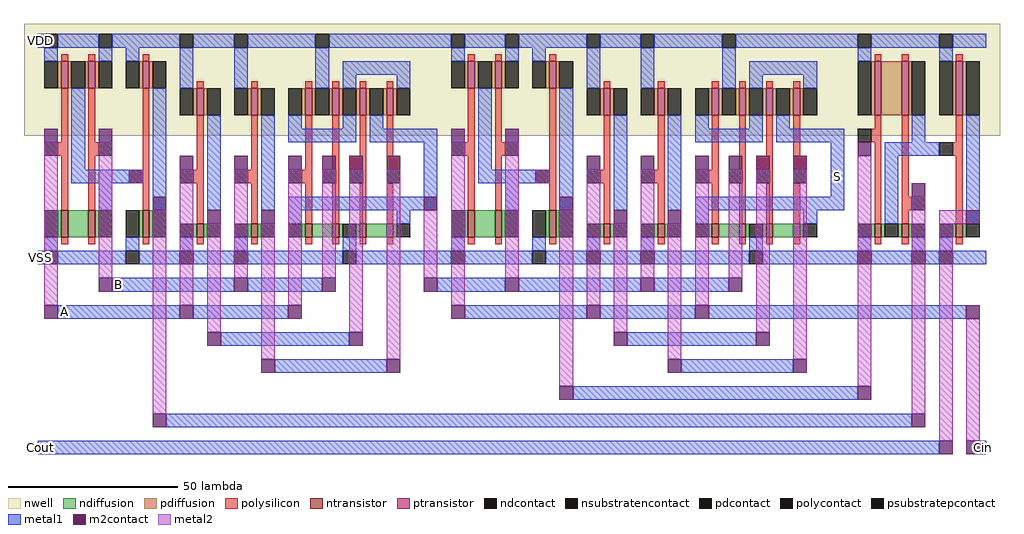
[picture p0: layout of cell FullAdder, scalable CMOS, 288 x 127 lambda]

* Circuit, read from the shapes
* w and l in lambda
.subckt FullAdder A B Cin Cout S VDD VSS
M1 n1 A VSS VSS nfet w=8 l=2
M2 n2 B n1 VSS nfet w=8 l=2
M3 OR2_FA_0/B n2 VSS VSS nfet w=8 l=2
M4 n3 A VSS VSS nfet w=4 l=2
M5 n4 B VSS VSS nfet w=4 l=2
M6 n5 A HA_1/B VSS nfet w=4 l=2
M7 VSS B n5 VSS nfet w=4 l=2
M8 n6 n3 VSS VSS nfet w=4 l=2
M9 HA_1/B n4 n6 VSS nfet w=4 l=2
M10 n7 Cin VSS VSS nfet w=8 l=2
M11 n8 HA_1/B n7 VSS nfet w=8 l=2
M12 OR2_FA_0/A n8 VSS VSS nfet w=8 l=2
M13 n9 Cin VSS VSS nfet w=4 l=2
M14 n10 HA_1/B VSS VSS nfet w=4 l=2
M15 n11 Cin S VSS nfet w=4 l=2
M16 VSS HA_1/B n11 VSS nfet w=4 l=2
M17 n12 n9 VSS VSS nfet w=4 l=2
M18 S n10 n12 VSS nfet w=4 l=2
M19 n13 OR2_FA_0/A VSS VSS nfet w=4 l=2
M20 VSS OR2_FA_0/B n13 VSS nfet w=4 l=2
M21 Cout n13 VSS VSS nfet w=4 l=2
M22 n2 A VDD VDD pfet w=8 l=2
M23 VDD B n2 VDD pfet w=8 l=2
M24 OR2_FA_0/B n2 VDD VDD pfet w=8 l=2
M25 n3 A VDD VDD pfet w=8 l=2
M26 n4 B VDD VDD pfet w=8 l=2
M27 VDD A n14 VDD pfet w=8 l=2
M28 n14 B VDD VDD pfet w=8 l=2
M29 HA_1/B n3 n14 VDD pfet w=8 l=2
M30 n14 n4 HA_1/B VDD pfet w=8 l=2
M31 n8 Cin VDD VDD pfet w=8 l=2
M32 VDD HA_1/B n8 VDD pfet w=8 l=2
M33 OR2_FA_0/A n8 VDD VDD pfet w=8 l=2
M34 n9 Cin VDD VDD pfet w=8 l=2
M35 n10 HA_1/B VDD VDD pfet w=8 l=2
M36 VDD Cin n15 VDD pfet w=8 l=2
M37 n15 HA_1/B VDD VDD pfet w=8 l=2
M38 S n9 n15 VDD pfet w=8 l=2
M39 n15 n10 S VDD pfet w=8 l=2
M40 n16 OR2_FA_0/A VDD VDD pfet w=16 l=2
M41 n13 OR2_FA_0/B n16 VDD pfet w=16 l=2
M42 Cout n13 VDD VDD pfet w=16 l=2
.ends

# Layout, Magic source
magic
tech scmos
<< metal1 >>
rect 0 64 2 68
rect 234 24 238 28
rect 0 0 2 4
rect 22 -8 26 -4
rect 118 -8 138 -4
rect 6 -16 10 -12
rect 198 -16 274 -12
rect 158 -40 242 -36
rect 38 -48 258 -44
rect 0 -56 266 -52
rect 278 -56 280 -52
<< m2contact >>
rect 242 32 246 36
rect 258 20 262 24
rect 34 16 38 20
rect 114 16 118 20
rect 154 16 158 20
rect 274 12 278 16
rect 114 -8 118 -4
rect 138 -8 142 -4
rect 274 -16 278 -12
rect 154 -40 158 -36
rect 242 -40 246 -36
rect 34 -48 38 -44
rect 258 -48 262 -44
rect 266 -56 270 -52
rect 274 -56 278 -52
<< metal2 >>
rect 34 -44 38 16
rect 114 -4 118 16
rect 154 -36 158 16
rect 242 -36 246 32
rect 258 -44 262 20
rect 266 12 274 16
rect 266 -52 270 12
rect 274 -52 278 -16
use HA  HA_0
transform 1 0 0 0 1 0
box -4 -32 122 71
use HA  HA_1
transform 1 0 120 0 1 0
box -4 -32 122 71
use OR2_FA  OR2_FA_0
transform 1 0 240 0 1 0
box -4 0 44 71
<< labels >>
rlabel metal1 1 -54 1 -54 1 Cout
rlabel metal1 279 -54 279 -54 1 Cin
rlabel metal1 1 2 1 2 1 VSS
rlabel metal1 1 66 1 66 1 VDD
rlabel metal1 236 26 236 26 1 S
rlabel metal1 24 -6 24 -6 1 B
rlabel metal1 8 -14 8 -14 1 A
<< end >>

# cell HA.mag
magic
tech scmos
<< nwell >>
rect -4 38 36 71
<< ntransistor >>
rect 7 8 9 16
rect 15 8 17 16
rect 31 8 33 16
<< ptransistor >>
rect 7 52 9 60
rect 15 52 17 60
rect 31 52 33 60
<< ndiffusion >>
rect 6 8 7 16
rect 9 8 15 16
rect 17 8 18 16
rect 30 8 31 16
rect 33 8 34 16
<< pdiffusion >>
rect 6 52 7 60
rect 9 52 10 60
rect 14 52 15 60
rect 17 52 18 60
rect 30 52 31 60
rect 33 52 34 60
<< ndcontact >>
rect 2 8 6 16
rect 18 8 22 16
rect 26 8 30 16
rect 34 8 38 16
<< pdcontact >>
rect 2 52 6 60
rect 10 52 14 60
rect 18 52 22 60
rect 26 52 30 60
rect 34 52 38 60
<< psubstratepcontact >>
rect 2 0 6 4
rect 26 0 30 4
<< nsubstratencontact >>
rect 2 64 6 68
rect 18 64 22 68
<< polysilicon >>
rect 7 60 9 62
rect 15 60 17 62
rect 31 60 33 62
rect 7 36 9 52
rect 6 32 9 36
rect 7 16 9 32
rect 15 36 17 52
rect 15 32 18 36
rect 15 16 17 32
rect 31 16 33 52
rect 7 6 9 8
rect 15 6 17 8
rect 31 6 33 8
<< polycontact >>
rect 2 32 6 36
rect 18 32 22 36
rect 27 24 31 28
<< metal1 >>
rect 0 64 2 68
rect 6 64 18 68
rect 22 64 42 68
rect 2 60 6 64
rect 18 60 22 64
rect 26 60 30 64
rect 10 28 14 52
rect 10 24 27 28
rect 18 16 22 24
rect 34 16 38 52
rect 114 24 118 28
rect 2 4 6 8
rect 26 4 30 8
rect 0 0 2 4
rect 6 0 26 4
rect 30 0 41 4
rect 22 -8 58 -4
rect 6 -16 42 -12
<< m2contact >>
rect 2 36 6 40
rect 18 36 22 40
rect 18 -8 22 -4
rect 2 -16 6 -12
<< metal2 >>
rect 2 -12 6 36
rect 18 -4 22 36
rect 27 24 31 28
use XOR2  XOR2_0
transform 1 0 72 0 1 0
box -36 -32 50 71
<< labels >>
rlabel nsubstratencontact 4 66 4 66 1 VDD
rlabel nsubstratencontact 20 66 20 66 1 VDD
rlabel psubstratepcontact 4 2 4 2 1 VSS
rlabel psubstratepcontact 28 2 28 2 1 VSS
rlabel polycontact 20 34 20 34 1 B
rlabel polycontact 4 34 4 34 1 A
rlabel metal1 36 26 36 26 1 Co
rlabel metal1 116 26 116 26 1 S
<< end >>

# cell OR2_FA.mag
magic
tech scmos
<< nwell >>
rect -4 38 44 71
<< ntransistor >>
rect 7 8 9 12
rect 15 8 17 12
rect 31 8 33 12
<< ptransistor >>
rect 7 44 9 60
rect 15 44 17 60
rect 31 44 33 60
<< ndiffusion >>
rect 6 8 7 12
rect 9 8 10 12
rect 14 8 15 12
rect 17 8 18 12
rect 30 8 31 12
rect 33 8 34 12
<< pdiffusion >>
rect 6 44 7 60
rect 9 44 15 60
rect 17 44 18 60
rect 30 44 31 60
rect 33 44 34 60
<< ndcontact >>
rect 2 8 6 12
rect 10 8 14 12
rect 18 8 22 12
rect 26 8 30 12
rect 34 8 38 12
<< pdcontact >>
rect 2 44 6 60
rect 18 44 22 60
rect 26 44 30 60
rect 34 44 38 60
<< psubstratepcontact >>
rect 2 0 6 4
rect 18 0 22 4
rect 26 0 30 4
<< nsubstratencontact >>
rect 2 64 6 68
rect 26 64 30 68
<< polysilicon >>
rect 7 60 9 62
rect 15 60 17 62
rect 31 60 33 62
rect 7 40 9 44
rect 6 36 9 40
rect 7 12 9 36
rect 15 20 17 44
rect 31 36 33 44
rect 30 32 33 36
rect 15 16 18 20
rect 15 12 17 16
rect 31 12 33 32
rect 7 6 9 8
rect 15 6 17 8
rect 31 6 33 8
<< polycontact >>
rect 2 36 6 40
rect 26 32 30 36
rect 18 16 22 20
<< metal1 >>
rect 0 64 2 68
rect 6 64 26 68
rect 30 64 40 68
rect 2 60 6 64
rect 26 60 30 64
rect 18 36 22 44
rect 10 32 26 36
rect 10 12 14 32
rect 34 12 38 44
rect 2 4 6 8
rect 18 4 22 8
rect 26 4 30 8
rect 0 0 2 4
rect 6 0 18 4
rect 22 0 26 4
rect 30 0 40 4
<< labels >>
rlabel polycontact 20 18 20 18 7 B
rlabel psubstratepcontact 4 2 4 2 2 VSS
rlabel psubstratepcontact 20 2 20 2 8 VSS
rlabel psubstratepcontact 28 2 28 2 1 VSS
rlabel nsubstratencontact 28 66 28 66 1 VDD
rlabel metal1 36 34 36 34 1 Y
rlabel polycontact 4 38 4 38 3 A
rlabel nsubstratencontact 4 66 4 66 4 VDD
<< end >>

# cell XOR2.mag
magic
tech scmos
<< nwell >>
rect -36 38 50 71
<< ntransistor >>
rect -25 8 -23 12
rect -9 8 -7 12
rect 7 8 9 12
rect 15 8 17 12
rect 23 8 25 12
rect 31 8 33 12
<< ptransistor >>
rect -25 44 -23 52
rect -9 44 -7 52
rect 7 44 9 52
rect 15 44 17 52
rect 23 44 25 52
rect 31 44 33 52
<< ndiffusion >>
rect -26 8 -25 12
rect -23 8 -22 12
rect -10 8 -9 12
rect -7 8 -6 12
rect 6 8 7 12
rect 9 8 15 12
rect 17 8 18 12
rect 22 8 23 12
rect 25 8 31 12
rect 33 8 34 12
<< pdiffusion >>
rect -26 44 -25 52
rect -23 44 -22 52
rect -10 44 -9 52
rect -7 44 -6 52
rect 6 44 7 52
rect 9 44 10 52
rect 14 44 15 52
rect 17 44 18 52
rect 22 44 23 52
rect 25 44 26 52
rect 30 44 31 52
rect 33 44 34 52
<< ndcontact >>
rect -30 8 -26 12
rect -22 8 -18 12
rect -14 8 -10 12
rect -6 8 -2 12
rect 2 8 6 12
rect 18 8 22 12
rect 34 8 38 12
<< pdcontact >>
rect -30 44 -26 52
rect -22 44 -18 52
rect -14 44 -10 52
rect -6 44 -2 52
rect 2 44 6 52
rect 10 44 14 52
rect 18 44 22 52
rect 26 44 30 52
rect 34 44 38 52
<< psubstratepcontact >>
rect -30 0 -26 4
rect -14 0 -10 4
rect 18 0 22 4
<< nsubstratencontact >>
rect -30 64 -26 68
rect -14 64 -10 68
rect 10 64 14 68
<< polysilicon >>
rect -25 52 -23 54
rect -9 52 -7 54
rect 7 52 9 54
rect 15 52 17 54
rect 23 52 25 54
rect 31 52 33 54
rect -25 28 -23 44
rect -9 28 -7 44
rect 7 28 9 44
rect 15 28 17 44
rect 23 32 25 44
rect -26 24 -23 28
rect -10 24 -7 28
rect 6 24 9 28
rect 16 24 17 28
rect 20 28 25 32
rect 24 24 25 28
rect -25 12 -23 24
rect -9 12 -7 24
rect 7 12 9 24
rect 15 12 17 24
rect 23 12 25 24
rect 31 32 33 44
rect 31 28 35 32
rect 31 12 33 24
rect -25 6 -23 8
rect -9 6 -7 8
rect 7 6 9 8
rect 15 6 17 8
rect 23 6 25 8
rect 31 6 33 8
<< polycontact >>
rect -30 24 -26 28
rect -14 24 -10 28
rect 2 24 6 28
rect 12 24 16 28
rect 20 24 24 28
rect 31 24 35 28
<< metal1 >>
rect -32 64 -30 68
rect -26 64 -14 68
rect -10 64 10 68
rect 14 64 48 68
rect -30 52 -26 64
rect -14 52 -10 64
rect 10 52 14 64
rect -22 16 -18 44
rect -6 16 -2 44
rect 18 56 38 60
rect 18 52 22 56
rect 34 52 38 56
rect 2 40 6 44
rect 18 40 22 44
rect 2 36 22 40
rect 26 40 30 44
rect 26 36 46 40
rect 42 20 46 36
rect 2 16 46 20
rect 2 12 6 16
rect 34 12 38 16
rect -30 4 -26 8
rect -14 4 -10 8
rect 18 4 22 8
rect -32 0 -30 4
rect -26 0 -14 4
rect -10 0 18 4
rect 22 0 48 4
rect -10 -8 12 -4
rect -26 -16 2 -12
rect -18 -24 20 -20
rect -2 -32 31 -28
<< m2contact >>
rect -30 28 -26 32
rect -14 28 -10 32
rect -22 12 -18 16
rect 2 28 6 32
rect 12 28 16 32
rect 20 28 24 32
rect 31 28 35 32
rect -6 12 -2 16
rect -14 -8 -10 -4
rect 12 -8 16 -4
rect -30 -16 -26 -12
rect 2 -16 6 -12
rect -22 -24 -18 -20
rect 20 -24 24 -20
rect -6 -32 -2 -28
rect 31 -32 35 -28
<< metal2 >>
rect -30 -12 -26 28
rect -22 -20 -18 12
rect -14 -4 -10 28
rect -6 -28 -2 12
rect 2 -12 6 28
rect 12 -4 16 28
rect 20 -20 24 28
rect 31 -28 35 28
<< labels >>
rlabel psubstratepcontact 20 2 20 2 1 VSS
rlabel psubstratepcontact -12 2 -12 2 1 VSS
rlabel psubstratepcontact -28 2 -28 2 1 VSS
rlabel metal1 44 26 44 26 1 Y
rlabel nsubstratencontact 12 66 12 66 1 VDD
rlabel nsubstratencontact -28 66 -28 66 1 VDD
rlabel nsubstratencontact -12 66 -12 66 1 VDD
rlabel polycontact -12 26 -12 26 1 B
rlabel polycontact -28 26 -28 26 1 A
<< end >>
